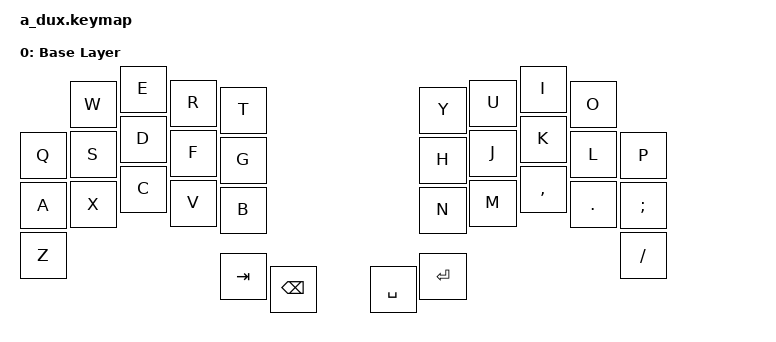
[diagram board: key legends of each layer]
/*
 * Copyright (c) 2021 The ZMK Contributors
 *
 * SPDX-License-Identifier: MIT
 */

#include <behaviors.dtsi>
#include <dt-bindings/zmk/keys.h>

/ {

    keymap {
        compatible = "zmk,keymap";

        // This is a sample keymap intended to be replaced with your own
        base_layer {
            display-name = "Base Layer";
            bindings = <
                &kp Q     &kp W     &kp E     &kp R     &kp T     &kp Y     &kp U     &kp I     &kp O     &kp P
                &kp A     &kp S     &kp D     &kp F     &kp G     &kp H     &kp J     &kp K     &kp L     &kp SEMI
                &kp Z     &kp X     &kp C     &kp V     &kp B     &kp N     &kp M     &kp COMMA &kp DOT   &kp SLASH
                                              &kp TAB   &kp BSPC  &kp SPACE &kp ENTER
            >;
        };

    };
};
